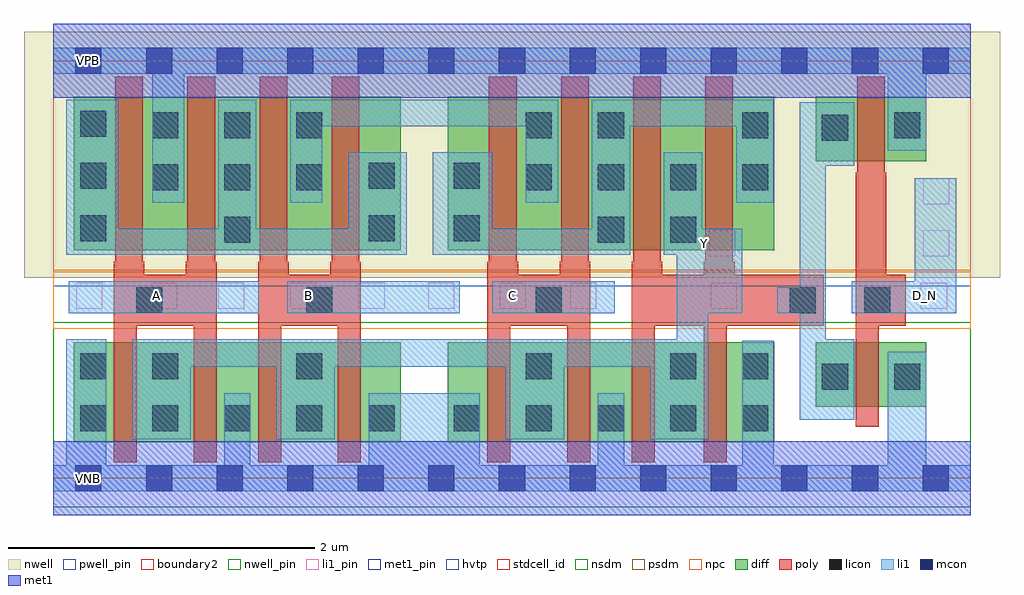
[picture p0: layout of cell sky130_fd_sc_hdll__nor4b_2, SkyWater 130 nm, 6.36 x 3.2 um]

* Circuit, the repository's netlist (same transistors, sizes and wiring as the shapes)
* Copyright 2020 The SkyWater PDK Authors
*
* Licensed under the Apache License, Version 2.0 (the "License");
* you may not use this file except in compliance with the License.
* You may obtain a copy of the License at
*
*     https://www.apache.org/licenses/LICENSE-2.0
*
* Unless required by applicable law or agreed to in writing, software
* distributed under the License is distributed on an "AS IS" BASIS,
* WITHOUT WARRANTIES OR CONDITIONS OF ANY KIND, either express or implied.
* See the License for the specific language governing permissions and
* limitations under the License.
*
* SPDX-License-Identifier: Apache-2.0

.SUBCKT sky130_fd_sc_hdll__nor4b_2 A B C D_N VGND VNB VPB VPWR Y
*.PININFO A:I B:I C:I D_N:I VGND:I VNB:I VPB:I VPWR:I Y:O
MMP0 VPWR A sndPA VPB sky130_fd_pr__pfet_01v8_hvt m=2 w=1.0U l=0.18U mult=1 sa=0.265
+ sb=0.265 sd=0.28 area=0.063 perim=1.14
MMP1 sndPA B sndPB VPB sky130_fd_pr__pfet_01v8_hvt m=2 w=1.0U l=0.18U mult=1 sa=0.265
+ sb=0.265 sd=0.28 area=0.063 perim=1.14
MMP2 sndPB C sndPC VPB sky130_fd_pr__pfet_01v8_hvt m=2 w=1.0U l=0.18U mult=1 sa=0.265
+ sb=0.265 sd=0.28 area=0.063 perim=1.14
MMP3 sndPC D Y VPB sky130_fd_pr__pfet_01v8_hvt m=2 w=1.0U l=0.18U mult=1 sa=0.265
+ sb=0.265 sd=0.28 area=0.063 perim=1.14
MMIP3 D D_N VPWR VPB sky130_fd_pr__pfet_01v8_hvt m=1 w=0.42U l=0.18U mult=1 sa=0.265
+ sb=0.265 sd=0.28 area=0.063 perim=1.14
MMN0 Y A VGND VNB sky130_fd_pr__nfet_01v8 m=2 w=0.65U l=0.15U mult=1 sa=0.265 sb=0.265
+ sd=0.28 area=0.063 perim=1.14
MMN1 Y B VGND VNB sky130_fd_pr__nfet_01v8 m=2 w=0.65U l=0.15U mult=1 sa=0.265 sb=0.265
+ sd=0.28 area=0.063 perim=1.14
MMN2 Y C VGND VNB sky130_fd_pr__nfet_01v8 m=2 w=0.65U l=0.15U mult=1 sa=0.265 sb=0.265
+ sd=0.28 area=0.063 perim=1.14
MMN3 Y D VGND VNB sky130_fd_pr__nfet_01v8 m=2 w=0.65U l=0.15U mult=1 sa=0.265 sb=0.265
+ sd=0.28 area=0.063 perim=1.14
MMIN3 D D_N VGND VNB sky130_fd_pr__nfet_01v8 m=1 w=0.42U l=0.15U mult=1 sa=0.265
+ sb=0.265 sd=0.28 area=0.063 perim=1.14
.ENDS sky130_fd_sc_hdll__nor4b_2

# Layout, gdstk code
import gdstk
lib = gdstk.Library(unit=1e-6, precision=1e-09)
def R(c, l, rs):  # rectangles x0, y0, x1, y1
    for r in rs: c.add(gdstk.rectangle(r[:2], r[2:], *l))
def A(c, l, x, y, w, h, nx, ny, dx, dy):  # array of equal rectangles
    R(c, l, [(x+i*dx, y+j*dy, x+i*dx+w, y+j*dy+h) for i in range(nx) for j in range(ny)])
def P(c, l, *ps):  # polygons
    for p in ps: c.add(gdstk.Polygon(p, *l))
nwell_pin = (64, 16)
nwell = (64, 20)
diff = (65, 20)
poly = (66, 20)
licon = (66, 44)
li1_pin = (67, 16)
li1 = (67, 20)
mcon = (67, 44)
met1_pin = (68, 16)
met1 = (68, 20)
hvtp = (78, 44)
stdcell_id = (81, 4)
nsdm = (93, 44)
psdm = (94, 20)
npc = (95, 20)
pwell_pin = (122, 16)
boundary2 = (236, 0)

sky130_fd_sc_hdll__nor4b = lib.new_cell('sky130_fd_sc_hdll__nor4b_2')
R(sky130_fd_sc_hdll__nor4b, nwell_pin, [(0.145,2.635,0.315,2.805)])
R(sky130_fd_sc_hdll__nor4b, nwell, [(-0.19,1.305,6.17,2.91)])
R(sky130_fd_sc_hdll__nor4b, diff, [(0.135,0.235,2.265,0.885), (2.57,0.235,4.7,0.885), (4.97,0.465,5.69,0.885), (0.135,1.485,2.265,2.485), (2.57,1.485,4.7,2.485), (4.97,2.065,5.69,2.485)])
P(sky130_fd_sc_hdll__nor4b, poly, [(1.065,1.41),(1.055,1.41),(1.055,2.615),(0.875,2.615),(0.875,1.41),(0.865,1.41),(0.865,1.325),(0.595,1.325),(0.595,1.41),(0.585,1.41),(0.585,2.615),(0.405,2.615),(0.405,1.41),(0.395,1.41),(0.395,0.105),(0.545,0.105),(0.545,0.995),(0.915,0.995),(0.915,0.105),(1.065,0.105)],
  [(2.005,1.41),(1.995,1.41),(1.995,2.615),(1.815,2.615),(1.815,1.41),(1.805,1.41),(1.805,1.325),(1.535,1.325),(1.535,1.41),(1.525,1.41),(1.525,2.615),(1.345,2.615),(1.345,1.41),(1.335,1.41),(1.335,0.105),(1.485,0.105),(1.485,0.995),(1.855,0.995),(1.855,0.105),(2.005,0.105)],
  [(3.5,1.41),(3.49,1.41),(3.49,2.615),(3.31,2.615),(3.31,1.41),(3.3,1.41),(3.3,1.325),(3.03,1.325),(3.03,1.41),(3.02,1.41),(3.02,2.615),(2.84,2.615),(2.84,1.41),(2.83,1.41),(2.83,0.105),(2.98,0.105),(2.98,0.995),(3.35,0.995),(3.35,0.105),(3.5,0.105)],
  [(5.02,1.325),(4.44,1.325),(4.44,1.41),(4.43,1.41),(4.43,2.615),(4.25,2.615),(4.25,1.41),(4.24,1.41),(4.24,1.325),(3.97,1.325),(3.97,1.41),(3.96,1.41),(3.96,2.615),(3.78,2.615),(3.78,1.41),(3.77,1.41),(3.77,0.105),(3.92,0.105),(3.92,0.995),(4.24,0.995),(4.24,0.105),(4.39,0.105),(4.39,0.995),(5.02,0.995)],
  [(5.555,1.325),(5.43,1.325),(5.43,1.99),(5.42,1.99),(5.42,2.615),(5.24,2.615),(5.24,1.99),(5.23,1.99),(5.23,0.335),(5.38,0.335),(5.38,0.995),(5.555,0.995)])
A(sky130_fd_sc_hdll__nor4b, licon, 0.175, 0.305, 0.17, 0.17, 5, 1, 0.47, 0)
A(sky130_fd_sc_hdll__nor4b, licon, 2.61, 0.305, 0.17, 0.17, 5, 1, 0.47, 0)
A(sky130_fd_sc_hdll__nor4b, licon, 0.175, 1.545, 0.17, 0.17, 1, 3, 0, 0.34)
A(sky130_fd_sc_hdll__nor4b, licon, 0.645, 1.875, 0.17, 0.17, 3, 2, 0.47, 0.34)
A(sky130_fd_sc_hdll__nor4b, licon, 3.08, 1.875, 0.17, 0.17, 4, 1, 0.47, 0)
R(sky130_fd_sc_hdll__nor4b, licon, [(5.01,0.575,5.18,0.745), (5.48,0.575,5.65,0.745), (0.175,0.645,0.345,0.815), (0.645,0.645,0.815,0.815), (1.585,0.645,1.755,0.815), (3.08,0.645,3.25,0.815), (4.02,0.645,4.19,0.815), (4.49,0.645,4.66,0.815), (0.54,1.075,0.71,1.245), (1.65,1.075,1.82,1.245), (3.145,1.075,3.315,1.245), (4.8,1.075,4.97,1.245), (5.285,1.075,5.455,1.245), (1.115,1.535,1.285,1.705), (3.55,1.535,3.72,1.705), (4.02,1.535,4.19,1.705), (2.055,1.545,2.225,1.715), (2.61,1.545,2.78,1.715), (2.055,1.885,2.225,2.055), (2.61,1.885,2.78,2.055), (5.01,2.2,5.18,2.37), (3.08,2.215,3.25,2.385), (3.55,2.215,3.72,2.385), (4.49,2.215,4.66,2.385), (5.48,2.215,5.65,2.385)])
R(sky130_fd_sc_hdll__nor4b, li1_pin, [(0.15,1.105,0.32,1.275), (0.64,1.105,0.81,1.275), (1.075,1.105,1.245,1.275), (1.545,1.105,1.715,1.275), (1.99,1.105,2.16,1.275), (2.445,1.105,2.615,1.275), (2.91,1.105,3.08,1.275), (3.37,1.105,3.54,1.275), (4.285,1.105,4.455,1.275), (5.655,1.105,5.825,1.275), (4.275,1.445,4.445,1.615), (5.67,1.445,5.84,1.615), (5.67,1.785,5.84,1.955)])
R(sky130_fd_sc_hdll__nor4b, li1, [(0.1,1.075,1.34,1.285), (1.525,1.075,2.65,1.285), (2.86,1.075,3.66,1.285)])
P(sky130_fd_sc_hdll__nor4b, li1, [(5.98,2.805),(0,2.805),(0,2.635),(0.645,2.635),(0.645,1.795),(0.855,1.795),(0.855,2.635),(5.44,2.635),(5.44,2.135),(5.69,2.135),(5.69,2.635),(5.98,2.635)],
  [(5.98,0.085),(5.69,0.085),(5.69,0.825),(5.44,0.825),(5.44,0.085),(4.695,0.085),(4.695,0.895),(4.49,0.895),(4.49,0.085),(3.72,0.085),(3.72,0.555),(3.55,0.555),(3.55,0.085),(2.78,0.085),(2.78,0.555),(2.055,0.555),(2.055,0.085),(1.285,0.085),(1.285,0.555),(1.115,0.555),(1.115,0.085),(0.345,0.085),(0.345,0.905),(0.085,0.905),(0.085,0.085),(0,0.085),(0,-0.085),(5.98,-0.085)],
  [(2.305,2.125),(1.925,2.125),(1.925,1.625),(1.325,1.625),(1.325,2.465),(1.075,2.465),(1.075,1.625),(0.425,1.625),(0.425,2.465),(0.085,2.465),(0.085,1.455),(2.305,1.455)],
  [(3.29,2.465),(1.545,2.465),(1.545,1.795),(1.755,1.795),(1.755,2.295),(3.08,2.295),(3.08,1.795),(3.29,1.795)],
  [(4.49,1.625),(4.23,1.625),(4.23,2.125),(3.98,2.125),(3.98,1.455),(4.065,1.455),(4.065,0.905),(0.515,0.905),(0.515,0.255),(0.895,0.255),(0.895,0.725),(1.455,0.725),(1.455,0.255),(1.835,0.255),(1.835,0.725),(2.95,0.725),(2.95,0.255),(3.33,0.255),(3.33,0.725),(3.89,0.725),(3.89,0.255),(4.27,0.255),(4.27,1.075),(4.49,1.075)],
  [(4.695,2.465),(3.51,2.465),(3.51,1.625),(2.86,1.625),(2.86,2.125),(2.475,2.125),(2.475,1.455),(3.76,1.455),(3.76,2.295),(4.45,2.295),(4.45,1.795),(4.695,1.795)],
  [(5.22,0.905),(5.035,0.905),(5.035,2.035),(5.22,2.035),(5.22,2.45),(4.865,2.45),(4.865,1.245),(4.72,1.245),(4.72,1.075),(4.865,1.075),(4.865,0.38),(5.22,0.38)],
  [(5.205,1.075),(5.205,1.285),(5.615,1.285),(5.615,1.955),(5.885,1.955),(5.885,1.075)])
A(sky130_fd_sc_hdll__nor4b, mcon, 0.145, -0.085, 0.17, 0.17, 13, 2, 0.46, 2.72)
R(sky130_fd_sc_hdll__nor4b, met1_pin, [(0.145,-0.085,0.315,0.085), (0.145,2.635,0.315,2.805)])
R(sky130_fd_sc_hdll__nor4b, met1, [(0,-0.24,5.98,0.24), (0,2.48,5.98,2.96)])
R(sky130_fd_sc_hdll__nor4b, hvtp, [(0,1.25,5.98,2.72)])
R(sky130_fd_sc_hdll__nor4b, stdcell_id, [(0,0,5.98,2.72)])
R(sky130_fd_sc_hdll__nor4b, nsdm, [(0,-0.19,5.98,1.015)])
R(sky130_fd_sc_hdll__nor4b, psdm, [(0,1.355,5.98,2.91)])
R(sky130_fd_sc_hdll__nor4b, npc, [(0,0.975,5.98,1.345)])
R(sky130_fd_sc_hdll__nor4b, pwell_pin, [(0.145,-0.085,0.315,0.085)])
R(sky130_fd_sc_hdll__nor4b, boundary2, [(0,0,5.98,2.72)])
sky130_fd_sc_hdll__nor4b.add(gdstk.Label('D_N', (5.675,1.19), layer=67, texttype=5))
sky130_fd_sc_hdll__nor4b.add(gdstk.Label('Y', (4.245,1.53), layer=67, texttype=5))
sky130_fd_sc_hdll__nor4b.add(gdstk.Label('C', (2.99,1.19), layer=67, texttype=5))
sky130_fd_sc_hdll__nor4b.add(gdstk.Label('A', (0.675,1.19), layer=67, texttype=5))
sky130_fd_sc_hdll__nor4b.add(gdstk.Label('B', (1.665,1.19), layer=67, texttype=5))
sky130_fd_sc_hdll__nor4b.add(gdstk.Label('VNB', (0.23,0), layer=64, texttype=59))
sky130_fd_sc_hdll__nor4b.add(gdstk.Label('VPB', (0.23,2.72), layer=64, texttype=5))
sky130_fd_sc_hdll__nor4b.add(gdstk.Label('VGND', (0.23,0), layer=68, texttype=5))
sky130_fd_sc_hdll__nor4b.add(gdstk.Label('VPWR', (0.23,2.72), layer=68, texttype=5))
sky130_fd_sc_hdll__nor4b.add(gdstk.Label('nor4b_2', (0,0), layer=83, texttype=44))

lib.write_gds('sky130_fd_sc_hdll__nor4b_2.gds')
